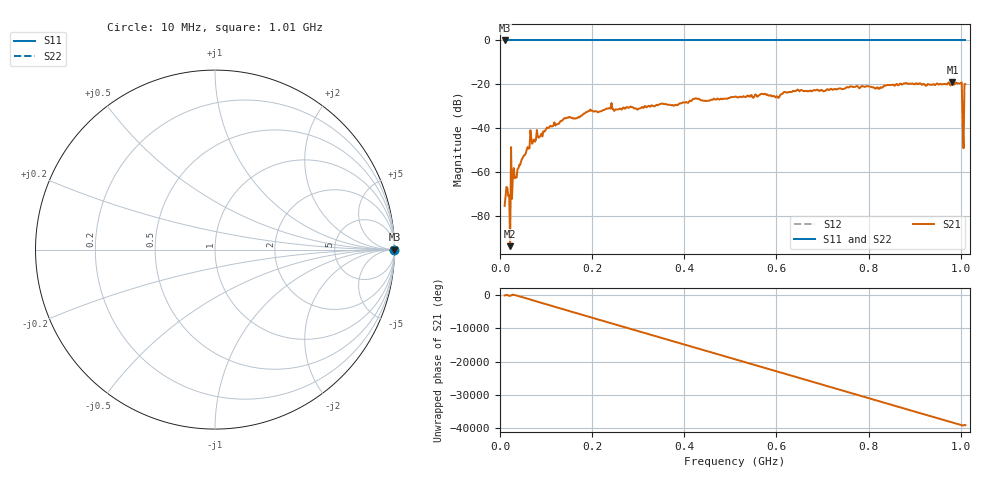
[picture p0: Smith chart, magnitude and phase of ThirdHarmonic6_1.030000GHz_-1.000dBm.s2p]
! 8/16/2025 8:47:15 AM
! C:\ANRITSUVNA\TEMP\TEMP.S2P
! CHANNEL.1
! TR.MEASUREMENT
! RAW.DATA
! RF.CORRECTION.OFF
! AVERAGING.OFF
! IF.BANDWIDTH: 5KHZ
! SWEEPTYPE:  FREQ.SWEEP(Linear)
! Reference Plane Port Info
! PORT:  PORT1  PORT2
! DISTANCE:  0  m  0  m
! TIME:  0  s  0  s
! PHASE.OFFSET:  0  deg.  0  deg.
! LOSS:  0  dB  0  dB
! REF.LOSS:  0  dB  0  dB
! REF.FREQ:  0  Hz  0  Hz
! Power Info
! POWER:  -20  dBm  -20  dBm
! EFF.POWER:  -20  dBm  -20  dBm
! SOURCE.ATTEN:  0  dB  0  dB
! TEST.ATTEN:  0  dB  0  dB
# GHZ S RI R 50.0
! FREQ.GHZ  S11RE  S11IM  S21RE  S21IM  S12RE  S12IM  S22RE  S22IM
!; PortSelection: Port_12
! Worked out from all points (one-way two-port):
!   501 points, 10 MHz to 1.01 GHz, reference 50 ohm
!   highest |S21| = -18.91 dB at 982 MHz (marker M1); lowest = -93.9 dB at 22 MHz (marker M2)
!   lowest |S11| = 0.0 dB at 10 MHz (marker M3)
!   |S11| at or under -10 dB: nowhere
!   |S22| runs from 0.0 to 0.0 dB; largest |S21 - S12| = 1.1
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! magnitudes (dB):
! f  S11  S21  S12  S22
! 10 MHz  0.0  -75.5  0.0  0.0
! 16 MHz  0.0  -67.2  0.0  0.0
! 18 MHz  0.0  -71.0  0.0  0.0
! 20 MHz  0.0  -70.5  0.0  0.0
! 22 MHz  0.0  -93.9  0.0  0.0
! 28 MHz  0.0  -61.6  0.0  0.0
! 30 MHz  0.0  -58.3  0.0  0.0
! 70 MHz  0.0  -47.1  0.0  0.0
! 74 MHz  0.0  -45.2  0.0  0.0
! 142 MHz  0.0  -35.6  0.0  0.0
! 178 MHz  0.0  -34.2  0.0  0.0
! 238 MHz  0.0  -30.9  0.0  0.0
! 344 MHz  0.0  -29.3  0.0  0.0
! 510 MHz  0.0  -25.6  0.0  0.0
! 602 MHz  0.0  -25.6  0.0  0.0
! 678 MHz  0.0  -23.1  0.0  0.0
! 844 MHz  0.0  -20.4  0.0  0.0
! 982 MHz  0.0  -18.9  0.0  0.0
! 998 MHz  0.0  -19.6  0.0  0.0
! 1.002 GHz  0.0  -19.1  0.0  0.0
! 1.008 GHz  0.0  -20.0  0.0  0.0
! 1.01 GHz  0.0  -19.9  0.0  0.0
